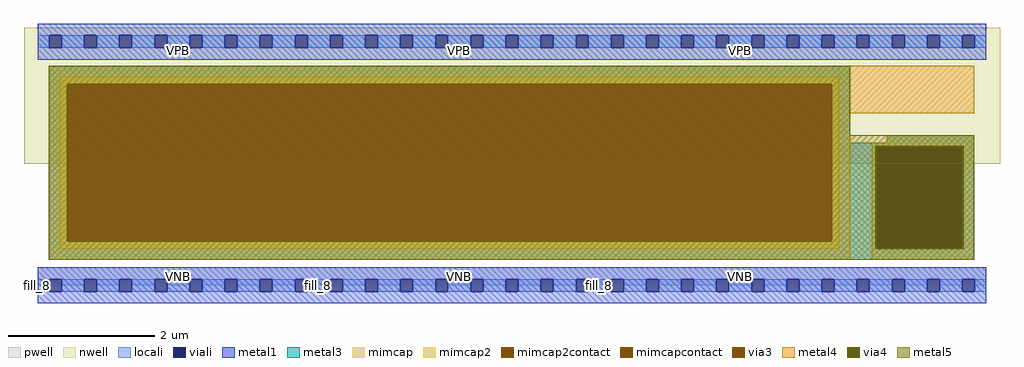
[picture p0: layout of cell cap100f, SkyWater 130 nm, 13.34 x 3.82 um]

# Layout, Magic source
magic
tech sky130A
magscale 1 2
<< nwell >>
rect -38 332 2630 704
<< pwell >>
rect 0 0 2592 49
<< locali >>
rect 0 649 31 683
rect 65 649 127 683
rect 161 649 223 683
rect 257 649 319 683
rect 353 649 415 683
rect 449 649 511 683
rect 545 649 607 683
rect 641 649 703 683
rect 737 649 799 683
rect 833 649 895 683
rect 929 649 991 683
rect 1025 649 1087 683
rect 1121 649 1183 683
rect 1217 649 1279 683
rect 1313 649 1375 683
rect 1409 649 1471 683
rect 1505 649 1567 683
rect 1601 649 1663 683
rect 1697 649 1759 683
rect 1793 649 1855 683
rect 1889 649 1951 683
rect 1985 649 2047 683
rect 2081 649 2143 683
rect 2177 649 2239 683
rect 2273 649 2335 683
rect 2369 649 2431 683
rect 2465 649 2527 683
rect 2561 649 2592 683
rect 0 -17 31 17
rect 65 -17 127 17
rect 161 -17 223 17
rect 257 -17 319 17
rect 353 -17 415 17
rect 449 -17 511 17
rect 545 -17 607 17
rect 641 -17 703 17
rect 737 -17 799 17
rect 833 -17 895 17
rect 929 -17 991 17
rect 1025 -17 1087 17
rect 1121 -17 1183 17
rect 1217 -17 1279 17
rect 1313 -17 1375 17
rect 1409 -17 1471 17
rect 1505 -17 1567 17
rect 1601 -17 1663 17
rect 1697 -17 1759 17
rect 1793 -17 1855 17
rect 1889 -17 1951 17
rect 1985 -17 2047 17
rect 2081 -17 2143 17
rect 2177 -17 2239 17
rect 2273 -17 2335 17
rect 2369 -17 2431 17
rect 2465 -17 2527 17
rect 2561 -17 2592 17
<< viali >>
rect 31 649 65 683
rect 127 649 161 683
rect 223 649 257 683
rect 319 649 353 683
rect 415 649 449 683
rect 511 649 545 683
rect 607 649 641 683
rect 703 649 737 683
rect 799 649 833 683
rect 895 649 929 683
rect 991 649 1025 683
rect 1087 649 1121 683
rect 1183 649 1217 683
rect 1279 649 1313 683
rect 1375 649 1409 683
rect 1471 649 1505 683
rect 1567 649 1601 683
rect 1663 649 1697 683
rect 1759 649 1793 683
rect 1855 649 1889 683
rect 1951 649 1985 683
rect 2047 649 2081 683
rect 2143 649 2177 683
rect 2239 649 2273 683
rect 2335 649 2369 683
rect 2431 649 2465 683
rect 2527 649 2561 683
rect 31 -17 65 17
rect 127 -17 161 17
rect 223 -17 257 17
rect 319 -17 353 17
rect 415 -17 449 17
rect 511 -17 545 17
rect 607 -17 641 17
rect 703 -17 737 17
rect 799 -17 833 17
rect 895 -17 929 17
rect 991 -17 1025 17
rect 1087 -17 1121 17
rect 1183 -17 1217 17
rect 1279 -17 1313 17
rect 1375 -17 1409 17
rect 1471 -17 1505 17
rect 1567 -17 1601 17
rect 1663 -17 1697 17
rect 1759 -17 1793 17
rect 1855 -17 1889 17
rect 1951 -17 1985 17
rect 2047 -17 2081 17
rect 2143 -17 2177 17
rect 2239 -17 2273 17
rect 2335 -17 2369 17
rect 2431 -17 2465 17
rect 2527 -17 2561 17
<< metal1 >>
rect 0 683 2592 715
rect 0 649 31 683
rect 65 649 127 683
rect 161 649 223 683
rect 257 649 319 683
rect 353 649 415 683
rect 449 649 511 683
rect 545 649 607 683
rect 641 649 703 683
rect 737 649 799 683
rect 833 649 895 683
rect 929 649 991 683
rect 1025 649 1087 683
rect 1121 649 1183 683
rect 1217 649 1279 683
rect 1313 649 1375 683
rect 1409 649 1471 683
rect 1505 649 1567 683
rect 1601 649 1663 683
rect 1697 649 1759 683
rect 1793 649 1855 683
rect 1889 649 1951 683
rect 1985 649 2047 683
rect 2081 649 2143 683
rect 2177 649 2239 683
rect 2273 649 2335 683
rect 2369 649 2431 683
rect 2465 649 2527 683
rect 2561 649 2592 683
rect 0 617 2592 649
rect 0 17 2592 49
rect 0 -17 31 17
rect 65 -17 127 17
rect 161 -17 223 17
rect 257 -17 319 17
rect 353 -17 415 17
rect 449 -17 511 17
rect 545 -17 607 17
rect 641 -17 703 17
rect 737 -17 799 17
rect 833 -17 895 17
rect 929 -17 991 17
rect 1025 -17 1087 17
rect 1121 -17 1183 17
rect 1217 -17 1279 17
rect 1313 -17 1375 17
rect 1409 -17 1471 17
rect 1505 -17 1567 17
rect 1601 -17 1663 17
rect 1697 -17 1759 17
rect 1793 -17 1855 17
rect 1889 -17 1951 17
rect 1985 -17 2047 17
rect 2081 -17 2143 17
rect 2177 -17 2239 17
rect 2273 -17 2335 17
rect 2369 -17 2431 17
rect 2465 -17 2527 17
rect 2561 -17 2592 17
rect 0 -49 2592 -17
<< metal3 >>
rect 30 390 2220 600
rect 2320 390 2560 410
rect 30 380 2560 390
rect 30 100 2290 380
rect 2530 100 2560 380
rect 30 70 2560 100
<< via3 >>
rect 2290 100 2530 380
<< mimcap >>
rect 60 550 2190 570
rect 60 120 80 550
rect 2170 120 2190 550
rect 60 100 2190 120
<< mimcapcontact >>
rect 80 120 2170 550
<< metal4 >>
rect 30 550 2560 600
rect 30 120 80 550
rect 2170 470 2560 550
rect 2170 120 2220 470
rect 2320 390 2560 410
rect 30 70 2220 120
rect 2280 380 2560 390
rect 2280 100 2290 380
rect 2530 100 2560 380
rect 2280 70 2560 100
<< via4 >>
rect 2290 100 2530 380
<< mimcap2 >>
rect 60 550 2190 570
rect 60 120 80 550
rect 2170 120 2190 550
rect 60 100 2190 120
<< mimcap2contact >>
rect 80 120 2170 550
<< metal5 >>
rect 30 550 2220 600
rect 30 120 80 550
rect 2170 410 2220 550
rect 2170 380 2560 410
rect 2170 120 2290 380
rect 30 100 2290 120
rect 2530 100 2560 380
rect 30 70 2560 100
<< labels >>
flabel pwell s 0 0 768 49 0 FreeSans 200 0 0 0 VNB
port 1 nsew
flabel nwell s 0 617 768 666 0 FreeSans 200 0 0 0 VPB
port 2 nsew
rlabel comment s 0 0 0 0 4 fill_8
flabel metal1 s 0 617 768 666 0 FreeSans 200 0 0 0 VPWR
port 3 nsew
flabel metal1 s 0 0 768 49 0 FreeSans 200 0 0 0 VGND
port 4 nsew
flabel pwell s 768 0 1536 49 0 FreeSans 200 0 0 0 VNB
port 1 nsew
flabel nwell s 768 617 1536 666 0 FreeSans 200 0 0 0 VPB
port 2 nsew
rlabel comment s 768 0 768 0 4 fill_8
flabel metal1 s 768 617 1536 666 0 FreeSans 200 0 0 0 VPWR
port 3 nsew
flabel metal1 s 768 0 1536 49 0 FreeSans 200 0 0 0 VGND
port 4 nsew
flabel pwell s 1536 0 2304 49 0 FreeSans 200 0 0 0 VNB
port 1 nsew
flabel nwell s 1536 617 2304 666 0 FreeSans 200 0 0 0 VPB
port 2 nsew
rlabel comment s 1536 0 1536 0 4 fill_8
flabel metal1 s 1536 617 2304 666 0 FreeSans 200 0 0 0 VPWR
port 3 nsew
flabel metal1 s 1536 0 2304 49 0 FreeSans 200 0 0 0 VGND
port 4 nsew
<< end >>
